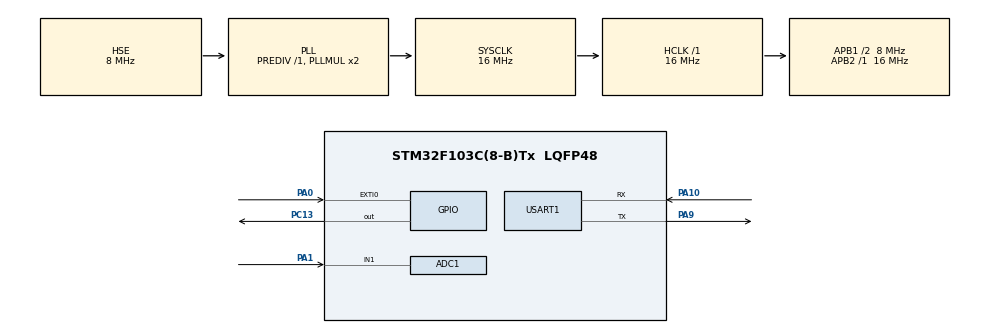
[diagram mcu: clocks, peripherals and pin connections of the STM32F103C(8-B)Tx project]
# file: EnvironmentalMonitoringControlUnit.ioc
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ADC1.Channel-0\#ChannelRegularConversion=ADC_CHANNEL_1
ADC1.NbrOfConversionFlag=1
ADC1.Rank-0\#ChannelRegularConversion=1
ADC1.SamplingTime-0\#ChannelRegularConversion=ADC_SAMPLETIME_1CYCLE_5
ADC1.master=1
Mcu.Family=STM32F1
Mcu.Name=STM32F103C(8-B)Tx
Mcu.Package=LQFP48
NVIC.EXTI0_IRQn=true\:0\:0\:false\:false\:true\:true\:true\:true
NVIC.PriorityGroup=NVIC_PRIORITYGROUP_4
NVIC.USART1_IRQn=true\:0\:0\:false\:false\:true\:true\:true\:true
PA0-WKUP.GPIO_PuPd=GPIO_PULLUP
PA0-WKUP.Signal=GPXTI0
PA1.Signal=ADCx_IN1
PA10.Mode=Asynchronous
PA10.Signal=USART1_RX
PA13.Mode=Serial_Wire
PA13.Signal=SYS_JTMS-SWDIO
PA14.Mode=Serial_Wire
PA14.Signal=SYS_JTCK-SWCLK
PA9.Mode=Asynchronous
PA9.Signal=USART1_TX
PC13-TAMPER-RTC.Signal=GPIO_Output
PD0-OSC_IN.Mode=HSE-External-Oscillator
PD0-OSC_IN.Signal=RCC_OSC_IN
PD1-OSC_OUT.Mode=HSE-External-Oscillator
PD1-OSC_OUT.Signal=RCC_OSC_OUT
ProjectManager.HeapSize=0x200
ProjectManager.StackSize=0x400
ProjectManager.TargetToolchain=STM32CubeIDE
RCC.AHBFreq_Value=16000000
RCC.APB1CLKDivider=RCC_HCLK_DIV2
RCC.APB1Freq_Value=8000000
RCC.APB1TimFreq_Value=16000000
RCC.APB2Freq_Value=16000000
RCC.APB2TimFreq_Value=16000000
RCC.HCLKFreq_Value=16000000
RCC.PLLSourceVirtual=RCC_PLLSOURCE_HSE
RCC.SYSCLKFreq_VALUE=16000000
RCC.SYSCLKSource=RCC_SYSCLKSOURCE_PLLCLK
RCC.USBFreq_Value=16000000
SH.ADCx_IN1.0=ADC1_IN1,IN1
USART1.VirtualMode=VM_ASYNC
board=custom

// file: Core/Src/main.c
/* USER CODE BEGIN Header */
/**
  ******************************************************************************
  * @file           : main.c
  * @brief          : UART komut tablosu (dispatch table) mimarisi
  *
  * Yeni komut eklemek için:
  * 1. Handler fonksiyonunu yaz  (örn: void Cmd_LedBlink(void))
  * 2. command_table[] dizisine bir satır ekle
  * Başka hiçbir yere dokunmana gerek yok.
  ******************************************************************************
  */
/* USER CODE END Header */
#include "main.h"
#include "adc.h"
#include "usart.h"
#include "gpio.h"

/* USER CODE BEGIN Includes */
#include <string.h>
#include <stdio.h>
/* USER CODE END Includes */

/* USER CODE BEGIN PTD */
typedef enum {
    MODE_UART,
    MODE_BUTTON,
    MODE_ADC
} SystemMode_t;

#define CMDFLAG_ANY  (-1)

typedef struct {
    const char   *name;          /* UART'tan beklenen string, ör. "LEDON" */
    int           allowed_mode;  /* hangi modda aktif, ya da CMDFLAG_ANY   */
    void        (*handler)(void);/* çağrılacak fonksiyon                   */
} Command_t;
/* USER CODE END PTD */

/* USER CODE BEGIN PV */
volatile uint8_t button_pressed_flag = 0;
uint32_t         last_button_time    = 0;

uint8_t  rx_byte       = 0;
char     command[32]   = {0};
uint8_t  cmd_index     = 0;
volatile uint8_t command_ready = 0;

uint16_t adcValue = 0;
char     msg[64]  = {0};

SystemMode_t currentMode = MODE_UART;
/* USER CODE END PV */

void SystemClock_Config(void);
/* USER CODE BEGIN PFP */
/* Mod görev fonksiyonları */
static void Uart_Mode_Task(void);
static void Button_Mode_Task(void);
static void Adc_Mode_Task(void);

/* Komut handler'ları — her biri tabloya bağlanır */
static void Cmd_SetModeUart(void);
static void Cmd_SetModeButton(void);
static void Cmd_SetModeAdc(void);
static void Cmd_LedOn(void);
static void Cmd_LedOff(void);

/* Dispatch motoru */
static void Process_Command(void);
/* USER CODE END PFP */

/* USER CODE BEGIN 0 */
/* ── KOMUT TABLOSU ────────────────────────────────────────────────────────── */
static const Command_t command_table[] = {
    /* isim     mod izni        handler         */
    { "UART",    CMDFLAG_ANY,    Cmd_SetModeUart   },
    { "BUTTON",  CMDFLAG_ANY,    Cmd_SetModeButton },
    { "ADC",     CMDFLAG_ANY,    Cmd_SetModeAdc    },
    { "LEDON",   MODE_UART,      Cmd_LedOn         },
    { "LEDOFF",  MODE_UART,      Cmd_LedOff        },
};

#define COMMAND_TABLE_SIZE  (sizeof(command_table) / sizeof(command_table[0]))
/* USER CODE END 0 */

int main(void)
{

  /* MCU Configuration--------------------------------------------------------*/

  /* Reset of all peripherals, Initializes the Flash interface and the Systick. */
  HAL_Init();

  /* Configure the system clock */
  SystemClock_Config();

  /* Initialize all configured peripherals */
  MX_GPIO_Init();
  MX_USART1_UART_Init();
  MX_ADC1_Init();
  /* USER CODE BEGIN 2 */
  HAL_UART_Transmit(&huart1, (uint8_t *)"System ready\r\n", 14, 100);
  HAL_UART_Receive_IT(&huart1, &rx_byte, 1);
  /* USER CODE END 2 */

  /* Infinite loop */
  /* USER CODE BEGIN WHILE */
  while (1)
  {
    /* Önce: yeni UART komutu geldiyse işle */
    if (command_ready)
    {
        Process_Command();
        command_ready = 0;
        memset(command, 0, sizeof(command));
    }

    /* Sonra: aktif moda ait görevi çalıştır */
    switch (currentMode)
    {
        case MODE_UART:   Uart_Mode_Task();   break;
        case MODE_BUTTON: Button_Mode_Task(); break;
        case MODE_ADC:    Adc_Mode_Task();    break;
    }
    /* USER CODE END WHILE */

  }
}

void SystemClock_Config(void)
{
  RCC_OscInitTypeDef RCC_OscInitStruct = {0};
  RCC_ClkInitTypeDef RCC_ClkInitStruct = {0};
  RCC_PeriphCLKInitTypeDef PeriphClkInit = {0};

  /** Initializes the RCC Oscillators according to the specified parameters
  * in the RCC_OscInitTypeDef structure.
  */
  RCC_OscInitStruct.OscillatorType = RCC_OSCILLATORTYPE_HSE;
  RCC_OscInitStruct.HSEState = RCC_HSE_ON;
  RCC_OscInitStruct.HSEPredivValue = RCC_HSE_PREDIV_DIV1;
  RCC_OscInitStruct.HSIState = RCC_HSI_ON;
  RCC_OscInitStruct.PLL.PLLState = RCC_PLL_ON;
  RCC_OscInitStruct.PLL.PLLSource = RCC_PLLSOURCE_HSE;
  RCC_OscInitStruct.PLL.PLLMUL = RCC_PLL_MUL2;
  if (HAL_RCC_OscConfig(&RCC_OscInitStruct) != HAL_OK)
  {
    Error_Handler();
  }

  /** Initializes the CPU, AHB and APB buses clocks
  */
  RCC_ClkInitStruct.ClockType = RCC_CLOCKTYPE_HCLK|RCC_CLOCKTYPE_SYSCLK
                              |RCC_CLOCKTYPE_PCLK1|RCC_CLOCKTYPE_PCLK2;
  RCC_ClkInitStruct.SYSCLKSource = RCC_SYSCLKSOURCE_PLLCLK;
  RCC_ClkInitStruct.AHBCLKDivider = RCC_SYSCLK_DIV1;
  RCC_ClkInitStruct.APB1CLKDivider = RCC_HCLK_DIV2;
  RCC_ClkInitStruct.APB2CLKDivider = RCC_HCLK_DIV1;

  if (HAL_RCC_ClockConfig(&RCC_ClkInitStruct, FLASH_LATENCY_0) != HAL_OK)
  {
    Error_Handler();
  }
  PeriphClkInit.PeriphClockSelection = RCC_PERIPHCLK_ADC;
  PeriphClkInit.AdcClockSelection = RCC_ADCPCLK2_DIV2;
  if (HAL_RCCEx_PeriphCLKConfig(&PeriphClkInit) != HAL_OK)
  {
    Error_Handler();
  }
}

/* USER CODE BEGIN 4 */
/* ── Dispatch motoru ──────────────────────────────────────────────────────── */
static void Process_Command(void)
{
    for (uint8_t i = 0; i < COMMAND_TABLE_SIZE; i++)
    {
        if (strcmp(command, command_table[i].name) == 0)
        {
            /* Mod kısıtlaması var mı? */
            if (command_table[i].allowed_mode != CMDFLAG_ANY &&
                command_table[i].allowed_mode != (int)currentMode)
            {
                HAL_UART_Transmit(&huart1,
                    (uint8_t *)"Command not available in this mode\r\n", 36, 100);
                return;
            }

            /* Handler'ı çalıştır */
            command_table[i].handler();
            return;
        }
    }

    /* Hiç eşleşme bulunamadı */
    HAL_UART_Transmit(&huart1, (uint8_t *)"Unknown command\r\n", 17, 100);
}

/* ── Komut handler'ları ───────────────────────────────────────────────────── */
static void Cmd_SetModeUart(void)
{
    currentMode = MODE_UART;
    HAL_UART_Transmit(&huart1, (uint8_t *)"UART MODE\r\n", 11, 100);
}

static void Cmd_SetModeButton(void)
{
    currentMode = MODE_BUTTON;
    HAL_UART_Transmit(&huart1, (uint8_t *)"BUTTON MODE\r\n", 13, 100);
}

static void Cmd_SetModeAdc(void)
{
    currentMode = MODE_ADC;
    HAL_UART_Transmit(&huart1, (uint8_t *)"ADC MODE\r\n", 10, 100);
}

static void Cmd_LedOn(void)
{
    HAL_GPIO_WritePin(GPIOC, GPIO_PIN_13, GPIO_PIN_RESET); /* aktif-low LED */
    HAL_UART_Transmit(&huart1, (uint8_t *)"LED ON\r\n", 8, 100);
}

static void Cmd_LedOff(void)
{
    HAL_GPIO_WritePin(GPIOC, GPIO_PIN_13, GPIO_PIN_SET);
    HAL_UART_Transmit(&huart1, (uint8_t *)"LED OFF\r\n", 9, 100);
}

/* ── Mod görev fonksiyonları ──────────────────────────────────────────────── */
static void Uart_Mode_Task(void)
{
    /* Mod periyodik işleri buraya yazılabilir */
}

static void Button_Mode_Task(void)
{
    if (button_pressed_flag)
    {
        button_pressed_flag = 0;
        HAL_GPIO_TogglePin(GPIOC, GPIO_PIN_13);
    }
}

static void Adc_Mode_Task(void)
{
    HAL_ADC_Start(&hadc1);
    HAL_ADC_PollForConversion(&hadc1, 100);
    adcValue = HAL_ADC_GetValue(&hadc1);

    HAL_GPIO_WritePin(GPIOC, GPIO_PIN_13,
                      (adcValue < 2048) ? GPIO_PIN_SET : GPIO_PIN_RESET);

    sprintf(msg, "ADC: %u\r\n", adcValue);
    HAL_UART_Transmit(&huart1, (uint8_t *)msg, strlen(msg), 100);
}

/* ── Interrupt callback'leri ──────────────────────────────────────────────── */
void HAL_GPIO_EXTI_Callback(uint16_t GPIO_Pin)
{
    if (GPIO_Pin == GPIO_PIN_0)
    {
        if ((HAL_GetTick() - last_button_time) > 200)
        {
            button_pressed_flag = 1;
            last_button_time    = HAL_GetTick();
        }
    }
}

void HAL_UART_RxCpltCallback(UART_HandleTypeDef *huart)
{
    if (huart->Instance != USART1) return;

    if (rx_byte != '\n' && rx_byte != '\r')
    {
        if (cmd_index < sizeof(command) - 1)   /* taşma koruması */
        {
            command[cmd_index++] = rx_byte;
        }
    }
    else
    {
        command[cmd_index] = '\0';
        if (cmd_index > 0)                     /* boş satırı yoksay */
        {
            command_ready = 1;
        }
        cmd_index = 0;
    }

    HAL_UART_Receive_IT(&huart1, &rx_byte, 1);
}
/* USER CODE END 4 */

void Error_Handler(void)
{
  __disable_irq();
  while (1)
  {
  }
}
